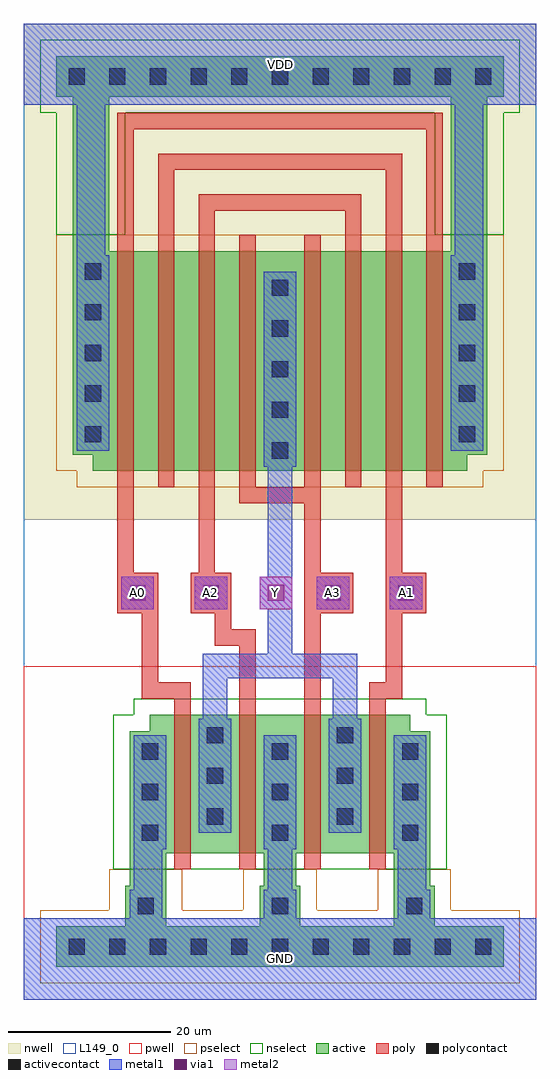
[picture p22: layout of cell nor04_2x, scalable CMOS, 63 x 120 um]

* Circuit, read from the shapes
.subckt nor04_2x A0 A1 A2 A3 GND VDD Y
M1 Y A0 GND GND nfet w=17u l=2u
M2 GND A2 Y GND nfet w=17u l=2u
M3 Y A3 GND GND nfet w=17u l=2u
M4 GND A1 Y GND nfet w=17u l=2u
M5 n1 A0 VDD VDD pfet w=27u l=2u
M6 n2 A1 n1 VDD pfet w=27u l=2u
M7 n3 A2 n2 VDD pfet w=27u l=2u
M8 Y A3 n3 VDD pfet w=27u l=2u
M9 n4 A3 Y VDD pfet w=27u l=2u
M10 n5 A2 n4 VDD pfet w=27u l=2u
M11 n6 A1 n5 VDD pfet w=27u l=2u
M12 VDD A0 n6 VDD pfet w=27u l=2u
.ends

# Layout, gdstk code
import gdstk
lib = gdstk.Library(unit=1e-6, precision=1e-09)
def R(c, l, rs):  # rectangles x0, y0, x1, y1
    for r in rs: c.add(gdstk.rectangle(r[:2], r[2:], *l))
def A(c, l, x, y, w, h, nx, ny, dx, dy):  # array of equal rectangles
    R(c, l, [(x+i*dx, y+j*dy, x+i*dx+w, y+j*dy+h) for i in range(nx) for j in range(ny)])
def P(c, l, *ps):  # polygons
    for p in ps: c.add(gdstk.Polygon(p, *l))
pwell = (41, 0)
nwell = (42, 0)
active = (43, 0)
pselect = (44, 0)
nselect = (45, 0)
poly = (46, 0)
polycontact = (47, 0)
activecontact = (48, 0)
metal1 = (49, 0)
via1 = (50, 0)
metal2 = (51, 0)
L149_0 = (149, 0)

via = lib.new_cell('via')
R(via, metal1, [(-2,-2,2,2)])
R(via, via1, [(-1,-1,1,1)])
R(via, metal2, [(-2,-2,2,2)])

nor04_2x = lib.new_cell('nor04_2x')
R(nor04_2x, pwell, [(0,0,63,41)])
P(nor04_2x, pwell, [(56,12),(56,39),(53.5,39),(53.5,41),(9.5,41),(9.5,39),(7,39),(7,12)])
R(nor04_2x, nwell, [(0,59,63,120)])
P(nor04_2x, nwell, [(60.5,59),(60.5,61),(63,61),(63,98),(0,98),(0,61),(2.5,61),(2.5,59)])
A(nor04_2x, active, 12.5, 9, 5, 5, 3, 1, 16.5, 0)
R(nor04_2x, active, [(4,4,59,9), (13,14,17.5,18), (29.5,14,33.5,18), (45.5,14,50,18), (6,92,10.5,111), (52.5,92,57,111), (4,111,59,116)])
P(nor04_2x, active, [(18.5,18),(18.5,35),(15.5,35),(15.5,33),(13,33),(13,18)],
  [(50,18),(50,33),(47.5,33),(47.5,35),(15.5,35),(15.5,33),(13,33),(13,18)],
  [(50,18),(50,33),(47.5,33),(47.5,35),(44.5,35),(44.5,18)],
  [(11.5,65),(11.5,92),(6,92),(6,67),(8.5,67),(8.5,65)],
  [(54.5,65),(54.5,67),(57,67),(57,92),(6,92),(6,67),(8.5,67),(8.5,65)],
  [(54.5,65),(54.5,67),(57,67),(57,92),(51.5,92),(51.5,65)])
A(nor04_2x, pselect, 10.5, 11, 9, 5, 3, 1, 16.5, 0)
R(nor04_2x, pselect, [(2,2,61,11)])
P(nor04_2x, pselect, [(56.5,63),(56.5,65),(59,65),(59,94),(4,94),(4,65),(6.5,65),(6.5,63)])
R(nor04_2x, nselect, [(4,94,12.5,109), (50.5,94,59,109), (2,109,61,118)])
P(nor04_2x, nselect, [(52,16),(52,35),(49.5,35),(49.5,37),(13.5,37),(13.5,35),(11,35),(11,16)])
A(nor04_2x, poly, 18.5, 16, 2, 2, 4, 2, 8, 19)
A(nor04_2x, poly, 18.5, 18, 2, 17, 4, 1, 8, 0)
A(nor04_2x, poly, 11.5, 63, 2, 2, 4, 2, 5, 29)
A(nor04_2x, poly, 34.5, 63, 2, 2, 4, 2, 5, 29)
A(nor04_2x, poly, 11.5, 65, 2, 27, 4, 1, 5, 0)
A(nor04_2x, poly, 34.5, 65, 2, 27, 4, 1, 5, 0)
R(nor04_2x, poly, [(11.5,47.5,16.5,52.5), (20.5,47.5,25.5,52.5), (35.5,47.5,40.5,52.5), (44.5,47.5,49.5,52.5)])
R(nor04_2x, polycontact, [(13,49,15,51), (22,49,24,51), (37,49,39,51), (46,49,48,51)])
A(nor04_2x, activecontact, 5.5, 5.5, 2, 2, 11, 2, 5, 107)
A(nor04_2x, activecontact, 14, 10.5, 2, 2, 3, 1, 16.5, 0)
A(nor04_2x, activecontact, 14.5, 19.5, 2, 2, 3, 3, 16, 5)
A(nor04_2x, activecontact, 22.5, 21.5, 2, 2, 1, 3, 0, 5)
A(nor04_2x, activecontact, 38.5, 21.5, 2, 2, 1, 3, 0, 5)
A(nor04_2x, activecontact, 30.5, 66.5, 2, 2, 1, 5, 0, 5)
A(nor04_2x, activecontact, 7.5, 68.5, 2, 2, 1, 5, 0, 5)
A(nor04_2x, activecontact, 53.5, 68.5, 2, 2, 1, 5, 0, 5)
A(nor04_2x, metal1, 13, 10, 4, 3.5, 3, 1, 16.5, 0)
A(nor04_2x, metal1, 13.5, 18.5, 4, 14, 3, 1, 16, 0)
R(nor04_2x, metal1, [(0,0,63,10), (13.5,13.5,17,18.5), (30,13.5,33,18.5), (46,13.5,49.5,18.5), (21.5,20.5,25.5,34.5), (37.5,20.5,41.5,34.5), (12,48,16,52), (21,48,25,52), (36,48,40,52), (45,48,49,52), (29.5,65.5,33.5,89.5), (6.5,67.5,10.5,91.5), (52.5,67.5,56.5,91.5), (6.5,91.5,10,110), (53,91.5,56.5,110), (0,110,63,120)])
R(nor04_2x, metal2, [(12,48,16,52), (21,48,25,52), (29,48,33,52), (36,48,40,52), (45,48,49,52)])
R(nor04_2x, L149_0, [(0,0,63,120)])
nor04_2x.add(gdstk.FlexPath([(17.5,94),(17.5,103),(45.5,103),(45.5,94)], 2, ends="flush", simple_path=True, layer=46, datatype=0))  # poly
nor04_2x.add(gdstk.FlexPath([(40.5,94),(40.5,98),(22.5,98),(22.5,94)], 2, ends="flush", simple_path=True, layer=46, datatype=0))  # poly
nor04_2x.add(gdstk.FlexPath([(50.5,94),(50.5,108),(12.5,108),(12.5,94)], 2, ends="flush", simple_path=True, layer=46, datatype=0))  # poly
nor04_2x.add(gdstk.FlexPath([(36.5,62),(26.5,62)], 2, ends="flush", simple_path=True, layer=46, datatype=0))  # poly
nor04_2x.add(gdstk.FlexPath([(35.5,61),(35.5,37)], 2, ends="flush", simple_path=True, layer=46, datatype=0))  # poly
nor04_2x.add(gdstk.FlexPath([(45.5,63),(45.5,52.5)], 2, ends="flush", simple_path=True, layer=46, datatype=0))  # poly
nor04_2x.add(gdstk.FlexPath([(45.5,47.5),(45.5,38),(42.5,38)], 2, ends="flush", simple_path=True, layer=46, datatype=0))  # poly
nor04_2x.add(gdstk.FlexPath([(20.5,38),(15.5,38),(15.5,47.5)], 2, ends="flush", simple_path=True, layer=46, datatype=0))  # poly
nor04_2x.add(gdstk.FlexPath([(12.5,63),(12.5,52.5)], 2, ends="flush", simple_path=True, layer=46, datatype=0))  # poly
nor04_2x.add(gdstk.FlexPath([(22.5,63),(22.5,52.5)], 2, ends="flush", simple_path=True, layer=46, datatype=0))  # poly
nor04_2x.add(gdstk.FlexPath([(27.5,37),(27.5,44.5),(24.5,44.5),(24.5,47.5)], 2, ends="flush", simple_path=True, layer=46, datatype=0))  # poly
nor04_2x.add(gdstk.FlexPath([(23.5,34.5),(23.5,41),(39.5,41),(39.5,34.5)], 3, ends="flush", simple_path=True, layer=49, datatype=0))  # metal1
nor04_2x.add(gdstk.FlexPath([(31.5,42.5),(31.5,65.5)], 3, ends="flush", simple_path=True, layer=49, datatype=0))  # metal1
nor04_2x.add(gdstk.Reference(via, (14,50)))
nor04_2x.add(gdstk.Reference(via, (31,50)))
nor04_2x.add(gdstk.Reference(via, (47,50)))
nor04_2x.add(gdstk.Reference(via, (23,50)))
nor04_2x.add(gdstk.Reference(via, (38,50)))
nor04_2x.add(gdstk.Label('A3', (38,50), layer=3, texttype=0))
nor04_2x.add(gdstk.Label('Y', (31,50), layer=3, texttype=0))
nor04_2x.add(gdstk.Label('A1', (47,50), layer=3, texttype=0))
nor04_2x.add(gdstk.Label('A0', (14,50), layer=3, texttype=0))
nor04_2x.add(gdstk.Label('A2', (23,50), layer=3, texttype=0))
nor04_2x.add(gdstk.Label('GND', (31.5,5), layer=2, texttype=0))
nor04_2x.add(gdstk.Label('VDD', (31.5,115), layer=2, texttype=0))

lib.write_gds('nor04_2x.gds')
